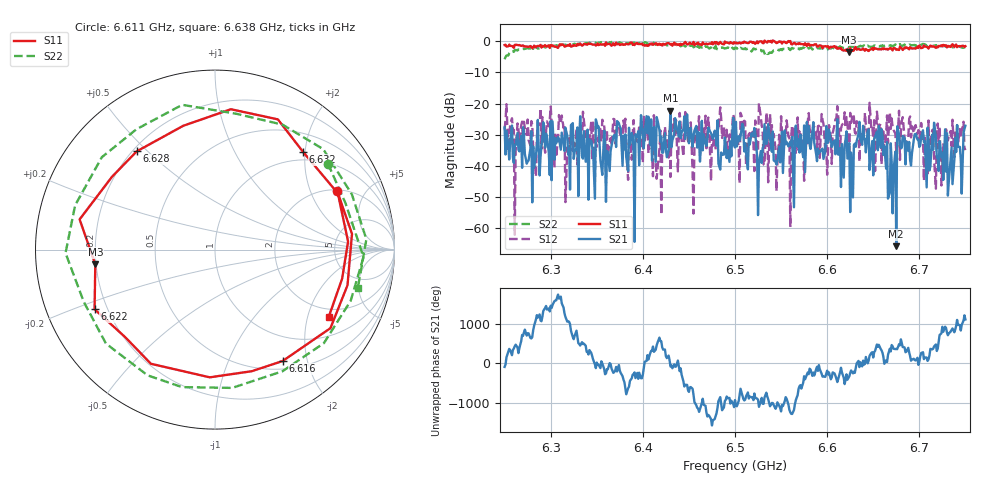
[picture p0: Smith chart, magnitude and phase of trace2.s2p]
# Hz S RI R 50
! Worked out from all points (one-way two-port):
!   401 points, 6.25 GHz to 6.75 GHz, reference 50 ohm
!   highest |S21| = -22.27 dB at 6.43 GHz (marker M1); lowest = -65.7 dB at 6.675 GHz (marker M2)
!   lowest |S11| = -3.5 dB at 6.624 GHz (marker M3), VSWR 5.09, Z = 9.85 - j2.95 ohm
!   |S11| at or under -10 dB: nowhere
!   |S22| runs from -5.8 to -0.1 dB; largest |S21 - S12| = 0.11
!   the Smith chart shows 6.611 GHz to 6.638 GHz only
!   S11 on the Smith chart (normalised r, x): 6.611 GHz: 2.06, +3.13; 6.616 GHz: 0.61, -1.61; 6.622 GHz: 0.15, -0.23; 6.628 GHz: 0.22, +0.46; 6.632 GHz: 0.83, +1.96; 6.638 GHz: 1.67, -2.73
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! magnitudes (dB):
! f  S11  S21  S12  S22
! 6.25 GHz  -1.2  -27.7  -28.3  -5.8
! 6.264 GHz  -1.2  -29.4  -26.3  -3.0
! 6.334 GHz  -1.4  -36.9  -30.8  -0.7
! 6.394 GHz  -0.7  -30.6  -32.2  -0.8
! 6.404 GHz  -1.2  -24.0  -24.7  -0.5
! 6.418 GHz  -0.8  -28.5  -34.6  -0.8
! 6.43 GHz  -1.1  -22.3  -43.5  -1.5
! 6.5 GHz  -0.7  -34.1  -27.9  -2.1
! 6.526 GHz  -0.1  -39.0  -19.9  -2.8
! 6.584 GHz  -1.3  -29.1  -30.2  -2.7
! 6.611 GHz  -2.4  -25.0  -20.8  -2.0
! 6.616 GHz  -2.8  -32.9  -26.9  -1.9
! 6.622 GHz  -2.5  -37.6  -26.2  -1.9
! 6.624 GHz  -3.5  -32.7  -37.0  -2.1
! 6.628 GHz  -3.1  -50.1  -23.3  -1.8
! 6.632 GHz  -2.7  -32.1  -25.6  -2.0
! 6.638 GHz  -2.7  -33.2  -31.1  -1.7
! 6.668 GHz  -2.3  -48.6  -22.7  -1.4
! 6.675 GHz  -2.8  -65.7  -35.7  -1.3
! 6.696 GHz  -2.4  -29.7  -26.9  -1.5
! 6.734 GHz  -1.8  -37.9  -28.8  -1.5
! 6.75 GHz  -1.6  -27.1  -34.9  -1.9
